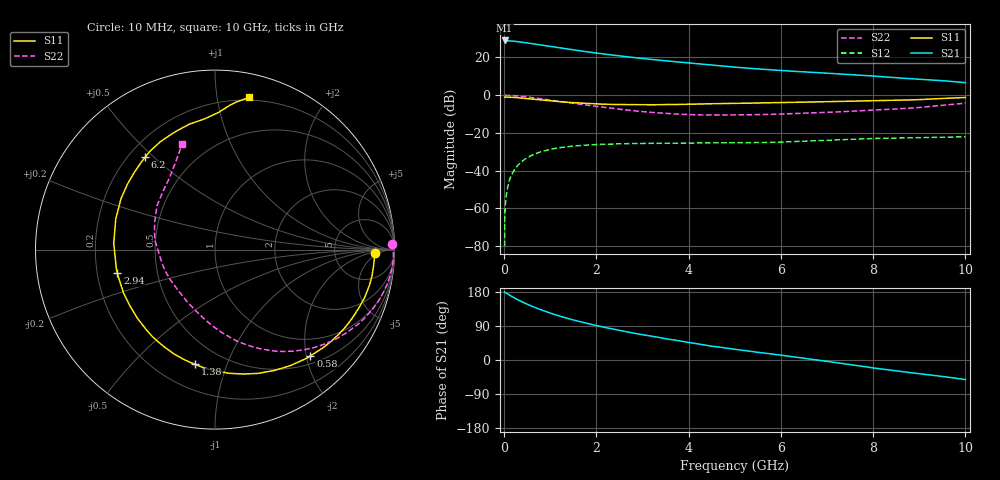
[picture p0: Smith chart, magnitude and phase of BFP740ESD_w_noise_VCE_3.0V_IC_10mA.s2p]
! Infineon Technologies  Discrete & RF Semiconductors
! BFP740ESD
! VCE =  3.0 V,  IC =  10 mA
! Common Emitter S-Parameters:  Jan 2016
# GHz  S  MA  R  50
!  f  S11  S21  S12  S22
! GHz  MAG  ANG  MAG  ANG  MAG  ANG  MAG  ANG
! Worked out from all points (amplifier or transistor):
!   233 points, 10 MHz to 10 GHz, reference 50 ohm
!   highest |S21| = 29.0 dB at 10 MHz (marker M1)
!   |S21| within 3 dB of that: start of sweep to 961.5 MHz
!   unconditionally stable (mu >= 1): start of sweep to 10.81 MHz; 5.156 GHz to 9.067 GHz
!   at 200 MHz: K = 0.09, MSG = 34.6 dB, |S12| = -40.4 dB
!   at 1.74 GHz: K = 0.40, MSG = 24.8 dB, |S12| = -26.5 dB
!   at 10 GHz: K = 0.72, MSG = 14.3 dB, |S12| = -22.0 dB
!   lowest NFmin = 0.60 dB at 450 MHz
!   S11 on the Smith chart (normalised r, x): 10 MHz: 17, -3; 580 MHz: 0.64, -2.08; 1.38 GHz: 0.35, -0.78; 2.94 GHz: 0.29, -0.11; 6.2 GHz: 0.27, +0.47; 10 GHz: 0.18, +1.24
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0.01  0.8941 -1.3  28.23 179.7  0.0001 51.3  0.9843 1.8
0.02  0.8905 -1.9  27.79 178.3  0.001 86.5  0.9943 -1.1
0.06  0.8882 -5.3  27.71 175.2  0.0029 85.5  0.9944 -3.4
0.155  0.8816 -13.8  27.41 168.5  0.0075 81.6  0.9849 -9.2
0.3  0.8556 -26.2  26.24 158.7  0.014 74.8  0.9554 -17.3
0.46  0.8225 -39.0  24.67 149.4  0.0206 67.6  0.9119 -25.4
0.58  0.7956 -48.1  23.48 142.9  0.0249 62.6  0.8747 -31.1
0.7  0.7708 -57.0  22.37 137.0  0.0289 58.1  0.8382 -36.5
0.9  0.7306 -70.7  20.53 127.9  0.0344 51.2  0.7764 -44.7
1.12  0.6894 -84.7  18.67 119.0  0.0393 44.7  0.7096 -52.9
1.38  0.649 -99.9  16.7 109.4  0.0434 38.1  0.6382 -61.6
1.68  0.6155 -115.4  14.8 99.9  0.0468 32.1  0.569 -70.3
2.22  0.5757 -139.4  12.1 85.0  0.0505 23.8  0.4696 -84.4
2.6  0.564 -154.7  10.64 75.6  0.0519 19.3  0.4122 -94.3
2.94  0.5593 -166.3  9.566 68.1  0.0526 16.4  0.3735 -102.9
3.4  0.5611 179.4  8.389 58.5  0.0532 13.3  0.3365 -114.8
4  0.5786 162.9  7.178 46.2  0.0541 10.2  0.3072 -131.5
5.1  0.6112 141.7  5.426 26.7  0.0548 7.2  0.3021 -159.5
6.2  0.6451 127.2  4.363 9.5  0.0585 6.8  0.3235 177.4
6.8  0.6661 119.4  3.949 -0.2  0.0626 5.7  0.3449 166.9
8.4  0.7266 95.8  2.962 -27.1  0.0726 -3.2  0.4257 134.6
10  0.87 77.3  2.154 -51.8  0.0792 -12.4  0.6152 107.3
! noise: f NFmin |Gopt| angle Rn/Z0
0.45  0.6  0.2  3  0.08
0.9  0.63  0.19  13  0.1
1.9  0.65  0.18  17  0.1
2.4  0.7  0.12  37  0.11
5.5  0.9  0.24  -138  0.14
10  1.66  0.57  -90  0.48
